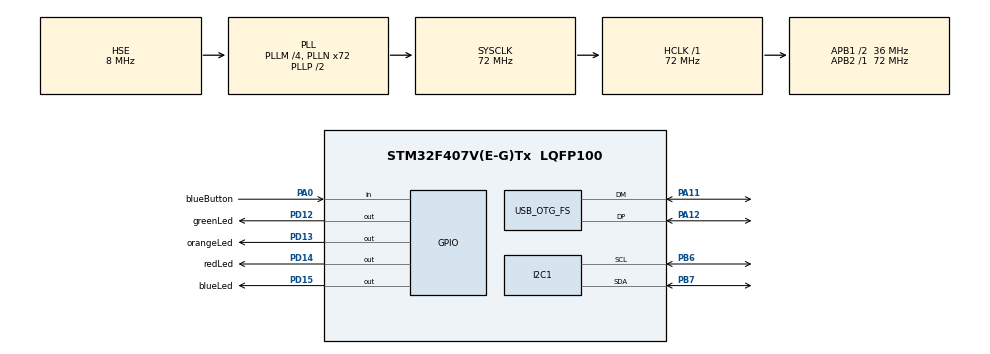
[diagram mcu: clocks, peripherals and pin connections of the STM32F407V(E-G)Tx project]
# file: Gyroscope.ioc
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Mcu.Family=STM32F4
Mcu.Name=STM32F407V(E-G)Tx
Mcu.Package=LQFP100
NVIC.OTG_FS_IRQn=true\:0\:0\:false\:false\:true\:false\:true
NVIC.PriorityGroup=NVIC_PRIORITYGROUP_0
PA0-WKUP.GPIO_Label=blueButton
PA0-WKUP.Signal=GPIO_Input
PA11.Mode=Device_Only
PA11.Signal=USB_OTG_FS_DM
PA12.Mode=Device_Only
PA12.Signal=USB_OTG_FS_DP
PA13.Mode=Serial_Wire
PA13.Signal=SYS_JTMS-SWDIO
PA14.Mode=Serial_Wire
PA14.Signal=SYS_JTCK-SWCLK
PB6.GPIO_PuPdOD=GPIO_PULLUP
PB6.Mode=I2C
PB6.Signal=I2C1_SCL
PB7.GPIO_PuPdOD=GPIO_PULLUP
PB7.Mode=I2C
PB7.Signal=I2C1_SDA
PD12.GPIO_Label=greenLed
PD12.GPIO_PuPd=GPIO_NOPULL
PD12.GPIO_Speed=GPIO_SPEED_FREQ_LOW
PD12.Signal=GPIO_Output
PD13.GPIO_Label=orangeLed
PD13.GPIO_PuPd=GPIO_NOPULL
PD13.GPIO_Speed=GPIO_SPEED_FREQ_LOW
PD13.Signal=GPIO_Output
PD14.GPIO_Label=redLed
PD14.GPIO_PuPd=GPIO_NOPULL
PD14.GPIO_Speed=GPIO_SPEED_FREQ_LOW
PD14.Signal=GPIO_Output
PD15.GPIO_Label=blueLed
PD15.GPIO_PuPd=GPIO_NOPULL
PD15.GPIO_Speed=GPIO_SPEED_FREQ_LOW
PD15.Signal=GPIO_Output
PH0-OSC_IN.Mode=HSE-External-Oscillator
PH0-OSC_IN.Signal=RCC_OSC_IN
PH1-OSC_OUT.Mode=HSE-External-Oscillator
PH1-OSC_OUT.Signal=RCC_OSC_OUT
ProjectManager.HeapSize=0x200
ProjectManager.StackSize=0x400
ProjectManager.TargetToolchain=MDK-ARM V5
RCC.48MHZClocksFreq_Value=48000000
RCC.AHBFreq_Value=72000000
RCC.APB1CLKDivider=RCC_HCLK_DIV2
RCC.APB1Freq_Value=36000000
RCC.APB1TimFreq_Value=72000000
RCC.APB2Freq_Value=72000000
RCC.APB2TimFreq_Value=72000000
RCC.CortexFreq_Value=72000000
RCC.HCLKFreq_Value=72000000
RCC.HSE_VALUE=8000000
RCC.HSI_VALUE=16000000
RCC.LSE_VALUE=32768
RCC.PLLM=4
RCC.PLLN=72
RCC.PLLQ=3
RCC.SYSCLKFreq_VALUE=72000000
RCC.SYSCLKSource=RCC_SYSCLKSOURCE_PLLCLK
RCC.VCOOutputFreq_Value=144000000
USB_DEVICE.CLASS_NAME_FS=CDC
USB_DEVICE.VirtualMode-CDC_FS=Cdc
USB_DEVICE.VirtualModeFS=Cdc_FS
USB_OTG_FS.VirtualMode=Device_Only
VP_USB_DEVICE_VS_USB_DEVICE_CDC_FS.Mode=CDC_FS
board=STM32F407G-DISC1

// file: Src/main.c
/* USER CODE BEGIN Header */
/**
  ******************************************************************************
  * @file           : main.c
  * @brief          : Main program body
  ******************************************************************************
  * @attention
  *
  * <h2><center>&copy; Copyright (c) 2020 STMicroelectronics.
  * All rights reserved.</center></h2>
  *
  * This software component is licensed by ST under BSD 3-Clause license,
  * the "License"; You may not use this file except in compliance with the
  * License. You may obtain a copy of the License at:
  *                        opensource.org/licenses/BSD-3-Clause
  *
  ******************************************************************************
  */
/* USER CODE END Header */

#include "main.h"
#include "usb_device.h"

/* USER CODE BEGIN Includes */
#include "string.h"
#include <math.h>

/* USER CODE END Includes */

I2C_HandleTypeDef hi2c1;

void SystemClock_Config(void);
static void MX_GPIO_Init(void);
static void MX_I2C1_Init(void);
/* USER CODE BEGIN PFP */

uint8_t CDC_Transmit_FS(uint8_t* Buf, uint16_t Len);
float getMres();

#define MPU9250_ADDRESS 0x68// Device address when ADO = 0
#define AK8963_ADDRESS   0x0C

#define WHO_AM_I 0x75 // Should return 0x71
#define MPU9250_WHOAMI_DEFAULT_VALUE 0x71
#define PWR_MGMT_1 0x6B // Device defaults to the SLEEP mode
#define MPU_CONFIG 0x1A
#define SMPLRT_DIV 0x19
#define GYRO_CONFIG 0x1B
#define ACCEL_CONFIG 0x1C
#define ACCEL_CONFIG2 0x1D
#define INT_PIN_CFG 0x37
#define INT_ENABLE 0x38
#define PWR_MGMT_2 0x6C
#define FIFO_EN 0x23
#define I2C_MST_CTRL 0x24
#define USER_CTRL 0x6A  // Bit 7 enable DMP, bit 3 reset DMP
#define FIFO_COUNTH 0x72
#define FIFO_R_W 0x74
#define XG_OFFSET_H 0x13  // User-defined trim values for gyroscope
#define XG_OFFSET_L 0x14
#define YG_OFFSET_H 0x15
#define YG_OFFSET_L 0x16
#define ZG_OFFSET_H 0x17
#define ZG_OFFSET_L 0x18
#define ACCEL_XOUT_H 0x3B
#define TEMP_OUT_H 0x41
#define INT_STATUS 0x3A

#define AK8963_WHO_AM_I  0x00 // should return 0x48
#define AK8963_WHOAMI_DEFAULT_VALUE 0x48
#define AK8963_CNTL 0x0A  // Power down (0000), single-measurement (0001), self-test (1000) and Fuse ROM (1111) modes on bits 3:0
#define AK8963_ASAX 0x10  // Fuse ROM x-axis sensitivity adjustment value
#define AK8963_ASAY 0x11  // Fuse ROM y-axis sensitivity adjustment value
#define AK8963_ASAZ 0x12  // Fuse ROM z-axis sensitivity adjustment value

#define GFSSEL 0x00 //0 - ± 250°/s; 1 - ± 500°/s; 2 - ±1000°/s; ± 2000°/s
#define AFSSEL 0x00 //0 - ±2g; 1 - ±4g; 2 - ±8g; 3 - ±16g;

#define magnetic_declination 11.3

#define Mmode 0x06 // 2 for 8 Hz, 6 for 100 Hz continuous magnetometer
#define AK8963_ST1 0x02  // data ready status bit 0
#define AK8963_XOUT_L	 0x03  // data

float mRes = 10. * 4912. / 32760.0; //MFSSEL: 0 - 10. * 4912. / 8190.0; 1 - 10. * 4912. / 32760.0;
float aRes = 2.0 / 32768.0; //±2g - 2.0 / 32768.0; ±4g - 4.0 / 32768.0; ±8g - 8.0 / 32768.0;±16g - 16.0 / 32768.0
float gRes = 250.0 / 32768.0; // ± 250°/s - 250.0 / 32768.0; ± 500°/s - 500.0 / 32768.0; ± 1000°/s - 1000.0 / 32768.0; ± 2000°/s - 2000.0 / 32768.0;

float magCalibration[3] = {0, 0, 0}; //factory mag calibration
float magBias[3] = {158, 134, -344};
float magScale[3]  = {0.98636, 0.9344, 1.12148}; // Bias corrections for gyro and accelerometer

float gyroBias[3] = {-2.00, -0.2, -1.1}; // bias corrections
float accelBias[3] = {0, 0, 0}; // bias corrections

int16_t tempCount;      // temperature raw count output
float temperature;    // Stores the real internal chip temperature in degrees Celsius
float SelfTestResult[6];    // holds results of gyro and accelerometer self test

int flagStartRead = 1;
float a[3], g[3], m[3];
float q[4] = {1.0f, 0.0f, 0.0f, 0.0f};    // vector to hold quaternion
float pitch, yaw, roll;
float a12, a22, a31, a32, a33;            // rotation matrix coefficients for Euler angles and gravity components
float lin_ax, lin_ay, lin_az;             // linear acceleration (acceleration with gravity component subtracted)

#define modeMedianAndKalman 0
const int medianVal = 3;
const float kalmanVal = 0.5;
float axMedian[medianVal], ayMedian[medianVal], azMedian[medianVal];
float gxMedian[medianVal], gyMedian[medianVal], gzMedian[medianVal];
float mxMedian[medianVal], myMedian[medianVal], mzMedian[medianVal];
int iterMedian = 0;

const double PI = 3.14159265358979f;
const float GyroMeasError = PI * (40.0f / 180.0f);   // gyroscope measurement error in rads/s (start at 40 deg/s)
const float GyroMeasDrift = PI * (0.0f  / 180.0f);   // gyroscope measurement drift in rad/s/s (start at 0.0 deg/s/s)
float beta;   // compute beta
float zeta;   // compute zeta, the other free parameter in the Madgwick scheme usually set to a small or zero value
const float Kp = 2.0f * 5.0f; // these are the free parameters in the Mahony filter and fusion scheme, Kp for proportional feedback, Ki for integral
const float Ki = 0.0f;

float deltat = 0.0f, sum = 0.0f;        // integration interval for both filter schemes
uint32_t lastUpdate = 0, firstUpdate = 0; // used to calculate integration interval
uint32_t Now = 0;        // used to calculate integration interval

// for mahony only
float eInt[3] = {0.0f, 0.0f, 0.0f};       // vector to hold integral error for Mahony method

int flagMPU = 0;
char bufUsb[127];
int b_ahrs = 1;
int flagPrint = 0;

/* USER CODE END PFP */

/* USER CODE BEGIN 0 */
void qsortRecursive(float *mas, int size)
{
	int i = 0;
	int j = size - 1;
	float mid = mas[size / 2];

	do
	{

			while(mas[i] < mid)
			{
				i++;
			}

			while(mas[j] > mid)
			{
				j--;
			}

			if (i <= j)
			{
					float tmp = mas[i];
					mas[i] = mas[j];
					mas[j] = tmp;

					i++;
					j--;
			}
	}
	while (i <= j);

	if(j > 0)
	{
		qsortRecursive(mas, j + 1);
	}
	if (i < size)
	{
		qsortRecursive(&mas[i], size - i);
	}
}

float medianMas(float *mas, int size)
{
	qsortRecursive(mas,size);
	return mas[size/2];
}

void valInit(void)
{
	beta =  sqrt(3.0f / 4.0f) * GyroMeasError;   // compute beta
 zeta = sqrt(3.0f / 4.0f) * GyroMeasDrift;   // compute zeta, the other free parameter in the Madgwick scheme usually set to a small or zero value
}

void usbSend(char* str_tx)
{
	HAL_GPIO_WritePin(blueLed_GPIO_Port,blueLed_Pin,GPIO_PIN_SET);
	CDC_Transmit_FS((unsigned char*)str_tx, strlen(str_tx));
	HAL_Delay(1);
	HAL_GPIO_WritePin(blueLed_GPIO_Port,blueLed_Pin,GPIO_PIN_RESET);

}

void qFilterUpdate(float ax, float ay, float az, float gx, float gy, float gz, float mx, float my, float mz, float* q)
{
	// updateParams()
	float q1 = q[0], q2 = q[1], q3 = q[2], q4 = q[3];   // short name local variable for readability
	float norm;
	float hx, hy, _2bx, _2bz;
	float s1, s2, s3, s4;
	float qDot1, qDot2, qDot3, qDot4;

	// Auxiliary variables to avoid repeated arithmetic
	float _2q1mx;
	float _2q1my;
	float _2q1mz;
	float _2q2mx;
	float _4bx;
	float _4bz;
	float _2q1 = 2.0f * q1;
	float _2q2 = 2.0f * q2;
	float _2q3 = 2.0f * q3;
	float _2q4 = 2.0f * q4;
	float _2q1q3 = 2.0f * q1 * q3;
	float _2q3q4 = 2.0f * q3 * q4;
	float q1q1 = q1 * q1;
	float q1q2 = q1 * q2;
	float q1q3 = q1 * q3;
	float q1q4 = q1 * q4;
	float q2q2 = q2 * q2;
	float q2q3 = q2 * q3;
	float q2q4 = q2 * q4;
	float q3q3 = q3 * q3;
	float q3q4 = q3 * q4;
	float q4q4 = q4 * q4;
	gx *= PI / 180.f;
	gy *= PI / 180.f;
	gz *= PI / 180.f;

	// updateTime()
	Now = HAL_GetTick();
	deltat = ((Now - lastUpdate) / 1000.0f); // set integration time by time elapsed since last filter update
	lastUpdate = Now;

	// Normalise accelerometer measurement
	norm = sqrtf(ax * ax + ay * ay + az * az);
	if (norm == 0.0f) return; // handle NaN
	norm = 1.0f / norm;
	ax *= norm;
	ay *= norm;
	az *= norm;

	// Normalise magnetometer measurement
	norm = sqrtf(mx * mx + my * my + mz * mz);
	if (norm == 0.0f) return; // handle NaN
	norm = 1.0f / norm;
	mx *= norm;
	my *= norm;
	mz *= norm;

	// Reference direction of Earth's magnetic field
	_2q1mx = 2.0f * q1 * mx;
	_2q1my = 2.0f * q1 * my;
	_2q1mz = 2.0f * q1 * mz;
	_2q2mx = 2.0f * q2 * mx;
	hx = mx * q1q1 - _2q1my * q4 + _2q1mz * q3 + mx * q2q2 + _2q2 * my * q3 + _2q2 * mz * q4 - mx * q3q3 - mx * q4q4;
	hy = _2q1mx * q4 + my * q1q1 - _2q1mz * q2 + _2q2mx * q3 - my * q2q2 + my * q3q3 + _2q3 * mz * q4 - my * q4q4;
	_2bx = sqrtf(hx * hx + hy * hy);
	_2bz = -_2q1mx * q3 + _2q1my * q2 + mz * q1q1 + _2q2mx * q4 - mz * q2q2 + _2q3 * my * q4 - mz * q3q3 + mz * q4q4;
	_4bx = 2.0f * _2bx;
	_4bz = 2.0f * _2bz;

	// Gradient decent algorithm corrective step
	s1 = -_2q3 * (2.0f * q2q4 - _2q1q3 - ax) + _2q2 * (2.0f * q1q2 + _2q3q4 - ay) - _2bz * q3 * (_2bx * (0.5f - q3q3 - q4q4) + _2bz * (q2q4 - q1q3) - mx) + (-_2bx * q4 + _2bz * q2) * (_2bx * (q2q3 - q1q4) + _2bz * (q1q2 + q3q4) - my) + _2bx * q3 * (_2bx * (q1q3 + q2q4) + _2bz * (0.5f - q2q2 - q3q3) - mz);
	s2 = _2q4 * (2.0f * q2q4 - _2q1q3 - ax) + _2q1 * (2.0f * q1q2 + _2q3q4 - ay) - 4.0f * q2 * (1.0f - 2.0f * q2q2 - 2.0f * q3q3 - az) + _2bz * q4 * (_2bx * (0.5f - q3q3 - q4q4) + _2bz * (q2q4 - q1q3) - mx) + (_2bx * q3 + _2bz * q1) * (_2bx * (q2q3 - q1q4) + _2bz * (q1q2 + q3q4) - my) + (_2bx * q4 - _4bz * q2) * (_2bx * (q1q3 + q2q4) + _2bz * (0.5f - q2q2 - q3q3) - mz);
	s3 = -_2q1 * (2.0f * q2q4 - _2q1q3 - ax) + _2q4 * (2.0f * q1q2 + _2q3q4 - ay) - 4.0f * q3 * (1.0f - 2.0f * q2q2 - 2.0f * q3q3 - az) + (-_4bx * q3 - _2bz * q1) * (_2bx * (0.5f - q3q3 - q4q4) + _2bz * (q2q4 - q1q3) - mx) + (_2bx * q2 + _2bz * q4) * (_2bx * (q2q3 - q1q4) + _2bz * (q1q2 + q3q4) - my) + (_2bx * q1 - _4bz * q3) * (_2bx * (q1q3 + q2q4) + _2bz * (0.5f - q2q2 - q3q3) - mz);
	s4 = _2q2 * (2.0f * q2q4 - _2q1q3 - ax) + _2q3 * (2.0f * q1q2 + _2q3q4 - ay) + (-_4bx * q4 + _2bz * q2) * (_2bx * (0.5f - q3q3 - q4q4) + _2bz * (q2q4 - q1q3) - mx) + (-_2bx * q1 + _2bz * q3) * (_2bx * (q2q3 - q1q4) + _2bz * (q1q2 + q3q4) - my) + _2bx * q2 * (_2bx * (q1q3 + q2q4) + _2bz * (0.5f - q2q2 - q3q3) - mz);
	norm = sqrtf(s1 * s1 + s2 * s2 + s3 * s3 + s4 * s4);    // normalise step magnitude
	norm = 1.0f/norm;
	s1 *= norm;
	s2 *= norm;
	s3 *= norm;
	s4 *= norm;

	// Compute rate of change of quaternion
	qDot1 = 0.5f * (-q2 * gx - q3 * gy - q4 * gz) - beta * s1;
	qDot2 = 0.5f * (q1 * gx + q3 * gz - q4 * gy) - beta * s2;
	qDot3 = 0.5f * (q1 * gy - q2 * gz + q4 * gx) - beta * s3;
	qDot4 = 0.5f * (q1 * gz + q2 * gy - q3 * gx) - beta * s4;

	// Integrate to yield quaternion
	q1 += qDot1 * deltat;
	q2 += qDot2 * deltat;
	q3 += qDot3 * deltat;
	q4 += qDot4 * deltat;
	norm = sqrtf(q1 * q1 + q2 * q2 + q3 * q3 + q4 * q4);    // normalise quaternion
	norm = 1.0f/norm;
	q[0] = q1 * norm;
	q[1] = q2 * norm;
	q[2] = q3 * norm;
	q[3] = q4 * norm;

}
void MahonyQuaternionUpdate(float ax, float ay, float az, float gx, float gy, float gz, float mx, float my, float mz, float* q)
    {
        float q1 = q[0], q2 = q[1], q3 = q[2], q4 = q[3];   // short name local variable for readability
        float norm;
        float hx, hy, bx, bz;
        float vx, vy, vz, wx, wy, wz;
        float ex, ey, ez;
        float pa, pb, pc;

        // Auxiliary variables to avoid repeated arithmetic
        float q1q1 = q1 * q1;
        float q1q2 = q1 * q2;
        float q1q3 = q1 * q3;
        float q1q4 = q1 * q4;
        float q2q2 = q2 * q2;
        float q2q3 = q2 * q3;
        float q2q4 = q2 * q4;
        float q3q3 = q3 * q3;
        float q3q4 = q3 * q4;
        float q4q4 = q4 * q4;

        // Normalise accelerometer measurement
        norm = sqrtf(ax * ax + ay * ay + az * az);
        if (norm == 0.0f) return; // handle NaN
        norm = 1.0f / norm;        // use reciprocal for division
        ax *= norm;
        ay *= norm;
        az *= norm;

        // Normalise magnetometer measurement
        norm = sqrtf(mx * mx + my * my + mz * mz);
        if (norm == 0.0f) return; // handle NaN
        norm = 1.0f / norm;        // use reciprocal for division
        mx *= norm;
        my *= norm;
        mz *= norm;

        // Reference direction of Earth's magnetic field
        hx = 2.0f * mx * (0.5f - q3q3 - q4q4) + 2.0f * my * (q2q3 - q1q4) + 2.0f * mz * (q2q4 + q1q3);
        hy = 2.0f * mx * (q2q3 + q1q4) + 2.0f * my * (0.5f - q2q2 - q4q4) + 2.0f * mz * (q3q4 - q1q2);
        bx = sqrtf((hx * hx) + (hy * hy));
        bz = 2.0f * mx * (q2q4 - q1q3) + 2.0f * my * (q3q4 + q1q2) + 2.0f * mz * (0.5f - q2q2 - q3q3);

        // Estimated direction of gravity and magnetic field
        vx = 2.0f * (q2q4 - q1q3);
        vy = 2.0f * (q1q2 + q3q4);
        vz = q1q1 - q2q2 - q3q3 + q4q4;
        wx = 2.0f * bx * (0.5f - q3q3 - q4q4) + 2.0f * bz * (q2q4 - q1q3);
        wy = 2.0f * bx * (q2q3 - q1q4) + 2.0f * bz * (q1q2 + q3q4);
        wz = 2.0f * bx * (q1q3 + q2q4) + 2.0f * bz * (0.5f - q2q2 - q3q3);

        // Error is cross product between estimated direction and measured direction of gravity
        ex = (ay * vz - az * vy) + (my * wz - mz * wy);
        ey = (az * vx - ax * vz) + (mz * wx - mx * wz);
        ez = (ax * vy - ay * vx) + (mx * wy - my * wx);
        if (Ki > 0.0f)
        {
            eInt[0] += ex;      // accumulate integral error
            eInt[1] += ey;
            eInt[2] += ez;
        }
        else
        {
            eInt[0] = 0.0f;     // prevent integral wind up
            eInt[1] = 0.0f;
            eInt[2] = 0.0f;
        }

        // Apply feedback terms
        gx = gx + Kp * ex + Ki * eInt[0];
        gy = gy + Kp * ey + Ki * eInt[1];
        gz = gz + Kp * ez + Ki * eInt[2];

        // Integrate rate of change of quaternion
        pa = q2;
        pb = q3;
        pc = q4;
        q1 = q1 + (-q2 * gx - q3 * gy - q4 * gz) * (0.5f * deltat);
        q2 = pa + (q1 * gx + pb * gz - pc * gy) * (0.5f * deltat);
        q3 = pb + (q1 * gy - pa * gz + pc * gx) * (0.5f * deltat);
        q4 = pc + (q1 * gz + pa * gy - pb * gx) * (0.5f * deltat);

        // Normalise quaternion
        norm = sqrtf(q1 * q1 + q2 * q2 + q3 * q3 + q4 * q4);
        norm = 1.0f / norm;
        q[0] = q1 * norm;
        q[1] = q2 * norm;
        q[2] = q3 * norm;
        q[3] = q4 * norm;
    }

void MPU9250Write(uint16_t MemAddress, uint8_t *pData, uint16_t Size)
{

	if (HAL_I2C_Mem_Write(&hi2c1, MPU9250_ADDRESS<<1, MemAddress, I2C_MEMADD_SIZE_8BIT, pData, Size, 1000) != HAL_OK)
	{
		sprintf(bufUsb, "I2C write error: %d\r\n",MemAddress);
	}
}

void MPU9250Read(uint16_t MemAddress, uint8_t *pData, uint16_t Size)
{

	if (HAL_I2C_Mem_Read(&hi2c1, MPU9250_ADDRESS<<1, MemAddress, I2C_MEMADD_SIZE_8BIT, pData, Size, 1000) !=HAL_OK)
	{
			sprintf(bufUsb, "I2C read error: %d\r\n", MemAddress);
	}
}

void AK8963Write(uint16_t MemAddress, uint8_t *pData, uint16_t Size)
{

	if (HAL_I2C_Mem_Write(&hi2c1, AK8963_ADDRESS<<1, MemAddress, I2C_MEMADD_SIZE_8BIT, pData, Size, 1000) != HAL_OK)
	{
		sprintf(bufUsb, "I2C write error: %d\r\n",MemAddress);
	}
}

void AK8963Read(uint16_t MemAddress, uint8_t *pData, uint16_t Size)
{

	if (HAL_I2C_Mem_Read(&hi2c1, AK8963_ADDRESS<<1, MemAddress, I2C_MEMADD_SIZE_8BIT, pData, Size, 1000) !=HAL_OK)
	{
			sprintf(bufUsb, "I2C read error: %d\r\n", MemAddress);
	}
}

int isConnectedMPU9250(void)
{

	uint8_t c[1];
	MPU9250Read(WHO_AM_I, c, 1);

	//sprintf(bufUsb,"MPU9250 WHO AM I = 0x%02X\r\n", c[0]);
	//usbSend(bufUsb);
	if (c[0] == (uint8_t) MPU9250_WHOAMI_DEFAULT_VALUE)
	{
		flagMPU = 1;
		return 1;
	}
	else
	{
		flagMPU = 0;
		return 0;
	}

}

void MPUInit(void)
{

	uint8_t pwrOff[1]={0x00};
	uint8_t pwrOn[1]={0x01};
	uint8_t mpuConfigVal[1]={0x03};
	uint8_t smplrtDivVal[1]={0x04};
	uint8_t intPinCfgVal[1]={0x22};
	uint8_t intEnableVal[1]={0x01};

	// wake up device
	MPU9250Write(PWR_MGMT_1, pwrOff, 1);
	HAL_Delay(100);// Wait for all registers to reset

	// get stable time source
	MPU9250Write(PWR_MGMT_1, pwrOn, 1);
	HAL_Delay(200);

	// Configure Gyro and Thermometer
	// Disable FSYNC and set thermometer and gyro bandwidth to 41 and 42 Hz, respectively;
	// minimum delay time for this setting is 5.9 ms, which means sensor fusion update rates cannot
	// be higher than 1 / 0.0059 = 170 Hz
	// DLPF_CFG = bits 2:0 = 011; this limits the sample rate to 1000 Hz for both
	// With the MPU9250, it is possible to get gyro sample rates of 32 kHz (!), 8 kHz, or 1 kHz
	MPU9250Write(MPU_CONFIG, mpuConfigVal, 1);

	// Set sample rate = gyroscope output rate/(1 + SMPLRT_DIV)
  MPU9250Write(SMPLRT_DIV, smplrtDivVal, 1); // Use a 200 Hz rate; a rate consistent with the filter update rate
	// determined inset in CONFIG above

	// Set gyroscope full scale range
  // Range selects FS_SEL and GFS_SEL are 0 - 3, so 2-bit values are left-shifted into positions 4:3
	uint8_t c[1];
	MPU9250Read(GYRO_CONFIG, c,1); // get current GYRO_CONFIG register value
	// c &= ~0xE0; // Clear self-test bits [7:5]
	c[0] &= ~0x03; // Clear Fchoice bits [1:0]
  c[0] &= ~0x18; // Clear GFS bits [4:3]
  c[0] |= (uint8_t)GFSSEL << 3; // Set full scale range for the gyro
	// c |= 0x00; // Set Fchoice for the gyro to 11 by writing its inverse to bits 1:0 of GYRO_CONFIG
	MPU9250Write(GYRO_CONFIG, c,1); // Write new GYRO_CONFIG value to register

	// Set accelerometer full-scale range configuration
	MPU9250Read(ACCEL_CONFIG, c,1); // get current ACCEL_CONFIG register value
	// c &= ~0xE0; // Clear self-test bits [7:5]
  c[0] &= ~0x18;  // Clear AFS bits [4:3]
  c[0] |= (uint8_t) AFSSEL << 3; // Set full scale range for the accelerometer
	MPU9250Write(ACCEL_CONFIG, c,1); // Write new ACCEL_CONFIG register value

	MPU9250Read(ACCEL_CONFIG2,c,1); // get current ACCEL_CONFIG2 register value
	c[0] &= ~0x0F; // Clear accel_fchoice_b (bit 3) and A_DLPFG (bits [2:0])
  c[0] |= 0x03;  // Set accelerometer rate to 1 kHz and bandwidth to 41 Hz
	MPU9250Write(ACCEL_CONFIG2,c,1); // Write new ACCEL_CONFIG2 register value

	// The accelerometer, gyro, and thermometer are set to 1 kHz sample rates,
	// but all these rates are further reduced by a factor of 5 to 200 Hz because of the SMPLRT_DIV setting

	// Configure Interrupts and Bypass Enable
	// Set interrupt pin active high, push-pull, hold interrupt pin level HIGH until interrupt cleared,
	// clear on read of INT_STATUS, and enable I2C_BYPASS_EN so additional chips
	MPU9250Write(INT_PIN_CFG, intPinCfgVal, 1);
	MPU9250Write(INT_ENABLE, intEnableVal, 1);	// Enable data ready (bit 0) interrupt
	HAL_Delay(100);

}

int isConnectedAK8963(void)
{

	uint8_t c[1];
	AK8963Read(AK8963_WHO_AM_I, c,1);

	//sprintf(bufUsb, "AK8963 WHO AM I =  %02X\r\n",c[0]);
	//usbSend(bufUsb);
	if (c[0] == (uint8_t) AK8963_WHOAMI_DEFAULT_VALUE)
	{
		flagMPU = 3;
		return 3;
	}
	else
	{
		flagMPU = 0;
		return 0;
	}

}

void AK8963Init(float* destination)
{

	uint8_t rawData[3];
	uint8_t AK8963Off[1]={0x00};
	uint8_t AK8963AccMod[1]={0x0F};
	uint8_t AK8963AcqMod[1]={0x16};

	AK8963Write(AK8963_CNTL, &AK8963Off[0], 1);// Power down magnetometer
	HAL_Delay(10);

	AK8963Write(AK8963_CNTL, &AK8963AccMod[0], 1);// Enter Fuse ROM access mode
	HAL_Delay(10);

	// Read the x-, y-, and z-axis calibration values
	AK8963Read(AK8963_ASAX, &rawData[0], 3);

	destination[0]= (float) (rawData[0] - 128) / 256. + 1.; // Return x-axis sensitivity adjustment values, etc.
	destination[1]= (float) (rawData[1] - 128) / 256. + 1.; // Return y-axis sensitivity adjustment values, etc.
	destination[2]= (float) (rawData[2] - 128) / 256. + 1.; // Return z-axis sensitivity adjustment values, etc.

	// Power down magnetometer
	AK8963Read(AK8963_CNTL, &AK8963Off[0],1);
	HAL_Delay(10);

	// Configure the magnetometer for continuous read and highest resolution
	// set Mscale bit 4 to 1 (0) to enable 16 (14) bit resolution in CNTL register,
	// and enable continuous mode data acquisition Mmode (bits [3:0]), 0010 for 8 Hz and 0110 for 100 Hz sample rates
	AK8963Write(AK8963_CNTL, &AK8963AcqMod[0], 1);
	HAL_Delay(10);

	usbSend("Calibration value:\r\n");
	sprintf(bufUsb, "X-Axis sensitivity adjustment value: %.4f \r\n", destination[0]);
	usbSend(bufUsb);
	sprintf(bufUsb, "Y-Axis sensitivity adjustment value: %.4f \r\n", destination[1]);
	usbSend(bufUsb);
	sprintf(bufUsb, "Z-Axis sensitivity adjustment value: %.4f \r\n", destination[2]);
	usbSend(bufUsb);
	sprintf(bufUsb, "X-Axis sensitivity offset value: %.4f \r\n", magBias[0]);
	usbSend(bufUsb);
	sprintf(bufUsb, "Y-Axis sensitivity offset value: %.4f \r\n", magBias[1]);
	usbSend(bufUsb);
	sprintf(bufUsb, "Z-Axis sensitivity offset value: %.4f \r\n", magBias[2]);
	usbSend(bufUsb);

}
void MPUSetup()
{
	int m_whoami = 0;
	int a_whoami = 0;

	m_whoami = isConnectedMPU9250();

	if (m_whoami == 1)
	{
		usbSend("MPU9250 is online...\r\n");

		MPUInit();

		a_whoami = isConnectedAK8963();

		if (a_whoami)
		{

			AK8963Init(magCalibration);
		}
		else
		{

			usbSend("Could not connect to AK8963: 0x");
			sprintf(bufUsb, "%d\r\n",a_whoami);
			usbSend(bufUsb);

		}
	}
	else
	{

		sprintf(bufUsb, "Could not connect to MPU9250: 0x%d\r\n", m_whoami);
		usbSend(bufUsb);

	}
}

// Function which accumulates gyro and accelerometer data after device initialization. It calculates the average
// of the at-rest readings and then loads the resulting offsets into accelerometer and gyro bias registers.
void calibrateMPU9250(float* dest1,float* dest2)
{

	uint8_t resetDevice[1] = {0x80};
	uint8_t powerOn[1] = {0x01};
	uint8_t powerOff[1] = {0x00};
	uint8_t resetFIFOandDMP[1] = {0x0C};
	uint8_t fifoEnable[1] = {0x40};
	uint8_t gyroAndAccelerometrEnable[1] = {0x78};

	uint8_t data[12]; //data array to hold accelerometer and gyro x, y, z, data
	uint16_t ii, packet_count, fifo_count;
	int32_t gyro_bias[3] = {0,0,0}, accel_bias[3] = {0,0,0};

	// reset device
	MPU9250Write(PWR_MGMT_1, resetDevice, 1);
	HAL_Delay(100);

	// get stable time source; Auto select clock source to be PLL gyroscope reference if ready
  // else use the internal oscillator, bits 2:0 = 001
	MPU9250Write(PWR_MGMT_1, powerOn, 1);
	MPU9250Write(PWR_MGMT_2, powerOff, 1);
	HAL_Delay(200);

	// Configure device for bias calculation
	MPU9250Write(INT_ENABLE, powerOff, 1); // Disable all interrupts
	MPU9250Write(FIFO_EN, powerOff, 1); // Disable FIFO
	MPU9250Write(PWR_MGMT_1, powerOff, 1); // Turn on internal clock source
	MPU9250Write(I2C_MST_CTRL, powerOff, 1); // Disable I2C master
	MPU9250Write(USER_CTRL, powerOff, 1); // Disable FIFO and I2C master modes
	MPU9250Write(USER_CTRL, resetFIFOandDMP, 1); // Reset FIFO and DMP
	HAL_Delay(15);

	// Configure MPU6050 gyro and accelerometer for bias calculation
	MPU9250Write(MPU_CONFIG, powerOn, 1); // Set low-pass filter to 188 Hz
	MPU9250Write(SMPLRT_DIV, powerOff, 1); // Set sample rate to 1 kHz
	MPU9250Write(GYRO_CONFIG, powerOff, 1); // Set gyro full-scale to 250 degrees per second, maximum sensitivity
	MPU9250Write(ACCEL_CONFIG, powerOff, 1); // Set accelerometer full-scale to 2 g, maximum sensitivity

	uint16_t  gyrosensitivity  = 131;   // = 131 LSB/degrees/sec
  uint16_t  accelsensitivity = 16384;  // = 16384 LSB/g

	// Configure FIFO to capture accelerometer and gyro data for bias calculation
	MPU9250Write(USER_CTRL, fifoEnable, 1); // Enable FIFO
	MPU9250Write(FIFO_EN, gyroAndAccelerometrEnable, 1); // Enable gyro and accelerometer sensors for FIFO  (max size 512 bytes in MPU-9150)
	HAL_Delay(40); // accumulate 40 samples in 40 milliseconds = 480 bytes

	// At end of sample accumulation, turn off FIFO sensor read
	MPU9250Write(FIFO_EN, powerOff, 1); // Disable gyro and accelerometer sensors for FIFO
	MPU9250Read(FIFO_COUNTH, &data[0], 2); // read FIFO sample count
	fifo_count = ( (uint16_t) data[0] << 8) | data[1];
	packet_count = fifo_count / 12; // How many sets of full gyro and accelerometer data for averaging

	for (ii = 0; ii < packet_count; ii++)
	{
		int16_t accel_temp[3] = {0, 0, 0}, gyro_temp[3] = {0, 0, 0};
		MPU9250Read(FIFO_R_W, &data[0], 12); // read data for averaging

		accel_temp[0] = (int16_t) (((int16_t)data[0] << 8) | data[1]  ) ;  // Form signed 16-bit integer for each sample in FIFO
		accel_temp[1] = (int16_t) (((int16_t)data[2] << 8) | data[3]  ) ;
		accel_temp[2] = (int16_t) (((int16_t)data[4] << 8) | data[5]  ) ;
		gyro_temp[0]  = (int16_t) (((int16_t)data[6] << 8) | data[7]  ) ;
		gyro_temp[1]  = (int16_t) (((int16_t)data[8] << 8) | data[9]  ) ;
		gyro_temp[2]  = (int16_t) (((int16_t)data[10] << 8) | data[11]) ;

		accel_bias[0] += (int32_t) accel_temp[0]; // Sum individual signed 16-bit biases to get accumulated signed 32-bit biases
		accel_bias[1] += (int32_t) accel_temp[1];
		accel_bias[2] += (int32_t) accel_temp[2];
		gyro_bias[0]  += (int32_t) gyro_temp[0];
		gyro_bias[1]  += (int32_t) gyro_temp[1];
		gyro_bias[2]  += (int32_t) gyro_temp[2];
	}

	accel_bias[0] /= (int32_t) packet_count; // Normalize sums to get average count biases
	accel_bias[1] /= (int32_t) packet_count;
	accel_bias[2] /= (int32_t) packet_count;
	gyro_bias[0]  /= (int32_t) packet_count;
	gyro_bias[1]  /= (int32_t) packet_count;
	gyro_bias[2]  /= (int32_t) packet_count;

	if(accel_bias[2] > 0L)
	{
		accel_bias[2] -= (int32_t) accelsensitivity; // Remove gravity from the z-axis accelerometer bias calculation
	}
  else
	{
		accel_bias[2] += (int32_t) accelsensitivity;
	}

	// Construct the gyro biases for push to the hardware gyro bias registers, which are reset to zero upon device startup
	data[0] = (-gyro_bias[0] / 4  >> 8) & 0xFF; // Divide by 4 to get 32.9 LSB per deg/s to conform to expected bias input format
	data[1] = (-gyro_bias[0] / 4)       & 0xFF; // Biases are additive, so change sign on calculated average gyro biases
	data[2] = (-gyro_bias[1] / 4  >> 8) & 0xFF;
	data[3] = (-gyro_bias[1] / 4)       & 0xFF;
	data[4] = (-gyro_bias[2] / 4  >> 8) & 0xFF;
	data[5] = (-gyro_bias[2] / 4)       & 0xFF;

	// Push gyro biases to hardware registers
  MPU9250Write(XG_OFFSET_H, &data[0], 1);
	MPU9250Write(XG_OFFSET_L, &data[1], 1);
	MPU9250Write(YG_OFFSET_H, &data[2], 1);
	MPU9250Write(YG_OFFSET_L, &data[3], 1);
	MPU9250Write(ZG_OFFSET_H, &data[4], 1);
	MPU9250Write(ZG_OFFSET_L, &data[5], 1);

	// Output scaled gyro biases for display in the main program
	dest1[0] = (float) gyro_bias[0] / (float) gyrosensitivity;
	dest1[1] = (float) gyro_bias[1] / (float) gyrosensitivity;
	dest1[2] = (float) gyro_bias[2] / (float) gyrosensitivity;

	// Construct the accelerometer biases for push to the hardware accelerometer bias registers. These registers contain
	// factory trim values which must be added to the calculated accelerometer biases; on boot up these registers will hold
	// non-zero values. In addition, bit 0 of the lower byte must be preserved since it is used for temperature
	// compensation calculations. Accelerometer bias registers expect bias input as 2048 LSB per g, so that
	// the accelerometer biases calculated above must be divided by 8.

	/* int32_t accel_bias_reg[3] = {0, 0, 0}; // A place to hold the factory accelerometer trim biases
		 readBytes(MPU9250_ADDRESS, XA_OFFSET_H, 2, &data[0]); // Read factory accelerometer trim values
		 accel_bias_reg[0] = (int32_t) (((int16_t)data[0] << 8) | data[1]);
	   readBytes(MPU9250_ADDRESS, YA_OFFSET_H, 2, &data[0]);
	   accel_bias_reg[1] = (int32_t) (((int16_t)data[0] << 8) | data[1]);
	   readBytes(MPU9250_ADDRESS, ZA_OFFSET_H, 2, &data[0]);
	   accel_bias_reg[2] = (int32_t) (((int16_t)data[0] << 8) | data[1]);

	   uint32_t mask = 1uL; // Define mask for temperature compensation bit 0 of lower byte of accelerometer bias registers
	   uint8_t mask_bit[3] = {0, 0, 0}; // Define array to hold mask bit for each accelerometer bias axis

	   for(ii = 0; ii < 3; ii++) {
	       if((accel_bias_reg[ii] & mask)) mask_bit[ii] = 0x01; // If temperature compensation bit is set, record that fact in mask_bit
	   }

	   Construct total accelerometer bias, including calculated average accelerometer bias from above
	   accel_bias_reg[0] -= (accel_bias[0] / 8); // Subtract calculated averaged accelerometer bias scaled to 2048 LSB/g (16 g full scale)
	   accel_bias_reg[1] -= (accel_bias[1] / 8);
	   accel_bias_reg[2] -= (accel_bias[2] / 8);

	   data[0] = (accel_bias_reg[0] >> 8) & 0xFF;
	   data[1] = (accel_bias_reg[0])      & 0xFF;
	   data[1] = data[1] | mask_bit[0]; // preserve temperature compensation bit when writing back to accelerometer bias registers
	   data[2] = (accel_bias_reg[1] >> 8) & 0xFF;
	   data[3] = (accel_bias_reg[1])      & 0xFF;
	   data[3] = data[3] | mask_bit[1]; // preserve temperature compensation bit when writing back to accelerometer bias registers
	   data[4] = (accel_bias_reg[2] >> 8) & 0xFF;
	   data[5] = (accel_bias_reg[2])      & 0xFF;
	   data[5] = data[5] | mask_bit[2]; // preserve temperature compensation bit when writing back to accelerometer bias registers

	   Apparently this is not working for the acceleration biases in the MPU-9250
	   Are we handling the temperature correction bit properly?
	   Push accelerometer biases to hardware registers
	   writeByte(MPU9250_ADDRESS, XA_OFFSET_H, data[0]);
	   writeByte(MPU9250_ADDRESS, XA_OFFSET_L, data[1]);
	   writeByte(MPU9250_ADDRESS, YA_OFFSET_H, data[2]);
	   writeByte(MPU9250_ADDRESS, YA_OFFSET_L, data[3]);
	   writeByte(MPU9250_ADDRESS, ZA_OFFSET_H, data[4]);
	   writeByte(MPU9250_ADDRESS, ZA_OFFSET_L, data[5]);*/

	   //Output scaled accelerometer biases for display in the main program
		dest2[0] = (float)accel_bias[0] / (float)accelsensitivity;
    dest2[1] = (float)accel_bias[1] / (float)accelsensitivity;
    dest2[2] = (float)accel_bias[2] / (float)accelsensitivity;

		usbSend("MPU9250 bias\r\n");
    usbSend(" x   y   z  \r\n");
		sprintf(bufUsb, "%d %d %d mg\r\n", (int)(1000 * accelBias[0]), (int)(1000 * accelBias[1]), (int)(1000 * accelBias[2]));
		usbSend(bufUsb);
		sprintf(bufUsb, "%f %f %f o/s\r\n", gyroBias[0],gyroBias[1],gyroBias[2]);
		usbSend(bufUsb);

   HAL_Delay(100);
	 MPUInit();
	 HAL_Delay(1000);

}

void calibrateAccelGyro(void)
{
	calibrateMPU9250(gyroBias, accelBias);
}

void readMagData(int16_t* destination)
{
	uint8_t rawData[7]; // x/y/z gyro register data, ST2 register stored here, must read ST2 at end of data acquisition
	uint8_t AK8963STVal[1];

	AK8963Read(AK8963_ST1, &AK8963STVal[0], 1);

	if (AK8963STVal[0] && 0x01) // wait for magnetometer data ready bit to be set
	{
		AK8963Read(AK8963_XOUT_L, &rawData[0], 7); // Read the six raw data and ST2 registers sequentially into data array
		uint8_t c = rawData[6]; // End data read by reading ST2 register
		if (!(c &0x08)) // Check if magnetic sensor overflow set, if not then report data
		{
			destination[0] = ((int16_t)rawData[1] << 8) | rawData[0];  // Turn the MSB and LSB into a signed 16-bit value
			destination[1] = ((int16_t)rawData[3] << 8) | rawData[2];  // Data stored as little Endian
			destination[2] = ((int16_t)rawData[5] << 8) | rawData[4];
		}
	}

}
void magcalMPU9250(float *dest1, float *dest2)
{
	uint16_t ii = 0, sample_count = 0;
	int32_t mag_bias[3] = {0, 0, 0}, mag_scale[3] = {0, 0, 0};
	int16_t mag_max[3] = {-32767, -32767, -32767}, mag_min[3] = {32767, 32767, 32767}, mag_temp[3] = {0, 0, 0};

	usbSend("Mag Calibration: Wave device in a figure eight until done!\r\n");
	HAL_Delay(4000);

	// shoot for ~fifteen seconds of mag data
  if (Mmode == 0x02)
	{
		sample_count = 128;  // at 8 Hz ODR, new mag data is available every 125 ms
	}
	else
	{
		if (Mmode == 0x06)
		{
			sample_count = 1500;  // at 100 Hz ODR, new mag data is available every 10 ms
		}
	}

	for(ii = 0; ii < sample_count; ii++)
	{
			readMagData(mag_temp);  // Read the mag data
			for (int jj = 0; jj < 3; jj++)
			{
					if(mag_temp[jj] > mag_max[jj]) mag_max[jj] = mag_temp[jj];
					if(mag_temp[jj] < mag_min[jj]) mag_min[jj] = mag_temp[jj];
			}
			if(Mmode == 0x02)
			{
				HAL_Delay(135);  // at 8 Hz ODR, new mag data is available every 125 ms
			}
			if(Mmode == 0x06)
			{
				HAL_Delay(12);  // at 100 Hz ODR, new mag data is available every 10 ms
			}
	}

	sprintf(bufUsb, "mag x min/max: %d/%d\r\n", mag_min[0], mag_max[0]);
	usbSend(bufUsb);
	sprintf(bufUsb, "mag y min/max: %d/%d\r\n", mag_min[1], mag_max[1]);
	usbSend(bufUsb);
	sprintf(bufUsb, "mag z min/max: %d/%d\r\n", mag_min[2], mag_max[2]);
	usbSend(bufUsb);

	if ((mag_min[0] == mag_max[0]) || (mag_min[1] == mag_max[1]) || (mag_min[2] == mag_max[2]))
	{
		HAL_GPIO_WritePin(orangeLed_GPIO_Port,orangeLed_Pin,GPIO_PIN_RESET);
		HAL_GPIO_WritePin(redLed_GPIO_Port,redLed_Pin,GPIO_PIN_SET);
	}
	else
	{

		// Get hard iron correction
		mag_bias[0]  = (mag_max[0] + mag_min[0])/2;  // get average x mag bias in counts
		mag_bias[1]  = (mag_max[1] + mag_min[1])/2;  // get average y mag bias in counts
		mag_bias[2]  = (mag_max[2] + mag_min[2])/2;  // get average z mag bias in counts

		dest1[0] = (float) mag_bias[0]*mRes*magCalibration[0];  // save mag biases in G for main program
		dest1[1] = (float) mag_bias[1]*mRes*magCalibration[1];
		dest1[2] = (float) mag_bias[2]*mRes*magCalibration[2];

		// Get soft iron correction estimate
		mag_scale[0]  = (mag_max[0] - mag_min[0])/2;  // get average x axis max chord length in counts
		mag_scale[1]  = (mag_max[1] - mag_min[1])/2;  // get average y axis max chord length in counts
		mag_scale[2]  = (mag_max[2] - mag_min[2])/2;  // get average z axis max chord length in counts

		float avg_rad = mag_scale[0] + mag_scale[1] + mag_scale[2];
		avg_rad /= 3.0;

		dest2[0] = avg_rad/((float)mag_scale[0]);
		dest2[1] = avg_rad/((float)mag_scale[1]);
		dest2[2] = avg_rad/((float)mag_scale[2]);

		usbSend("Mag Calibration done!\r\n");
		usbSend("AK8963 magbiases (mG)\r\n");
		sprintf(bufUsb, "%f, %f, %f\r\n", magBias[0], magBias[1], magBias[2]);
		usbSend(bufUsb);
		usbSend("AK8963 mag scale (mG)\r\n");
		sprintf(bufUsb, "%f, %f, %f\r\n", magScale[0], magScale[1], magScale[2]);
		usbSend(bufUsb);

	}

}

void calibrateMag(void)
{
	magcalMPU9250(magBias, magScale);
}
void readMPU9250Data(int16_t* destination)
{

	uint8_t rawData[14]; // x/y/z accel register data stored here
	MPU9250Read(ACCEL_XOUT_H, &rawData[0], 14); // Read the 14 raw data registers into data array
	destination[0] = ((int16_t)rawData[0] << 8) | rawData[1] ;  // Turn the MSB and LSB into a signed 16-bit value
	destination[1] = ((int16_t)rawData[2] << 8) | rawData[3] ;
	destination[2] = ((int16_t)rawData[4] << 8) | rawData[5] ;
	destination[3] = ((int16_t)rawData[6] << 8) | rawData[7] ;
	destination[4] = ((int16_t)rawData[8] << 8) | rawData[9] ;
	destination[5] = ((int16_t)rawData[10] << 8) | rawData[11] ;
	destination[6] = ((int16_t)rawData[12] << 8) | rawData[13] ;

}

int16_t readTempData(void)
{

	uint8_t rawData[2];// x/y/z gyro register data stored here
	MPU9250Read(TEMP_OUT_H, &rawData[0], 2);
	return ((int16_t)rawData[0] << 8) | rawData[1] ;

}

void updateAccelGyro(void)
{
	int16_t MPU9250Data[7]; // used to read all 14 bytes at once from the MPU9250 accel/gyro
	readMPU9250Data(MPU9250Data);// INT cleared on any read

	float aNew[3], gNew[3];

	// Now we'll calculate the accleration value into actual g's
	aNew[0] = (float)MPU9250Data[0] * aRes - accelBias[0];  // get actual g value, this depends on scale being set
	aNew[1] = (float)MPU9250Data[1] * aRes - accelBias[1];
	aNew[2] = (float)MPU9250Data[2] * aRes - accelBias[2];

	// Calculate the gyro value into actual degrees per second
	gNew[0] = (float)MPU9250Data[4] * gRes - gyroBias[0];  // get actual gyro value, this depends on scale being set
	gNew[1] = (float)MPU9250Data[5] * gRes - gyroBias[1];
	gNew[2] = (float)MPU9250Data[6] * gRes - gyroBias[2];

	if (modeMedianAndKalman)
	{
		if (flagStartRead)
		{
			a[0] = aNew[0];
			a[1] = aNew[1];
			a[2] = aNew[2];

			g[0] = gNew[0];
			g[1] = gNew[1];
			g[2] = gNew[2];

			for(int i=0; i<medianVal; i++)
			{
				axMedian[i] = aNew[0];
				ayMedian[i] = aNew[1];
				azMedian[i] = aNew[2];

				gxMedian[i] = gNew[0];
				gyMedian[i] = gNew[1];
				gzMedian[i] = gNew[2];

			}

			flagStartRead = 0;
		}
		else
		{
			a[0] = kalmanVal*aNew[0]+(1-kalmanVal)*a[0];
			a[1] = kalmanVal*aNew[1]+(1-kalmanVal)*a[1];
			a[2] = kalmanVal*aNew[2]+(1-kalmanVal)*a[2];

			g[0] = kalmanVal*gNew[0]+(1-kalmanVal)*g[0];
			g[1] = kalmanVal*gNew[1]+(1-kalmanVal)*g[1];
			g[2] = kalmanVal*gNew[2]+(1-kalmanVal)*g[2];

			axMedian[iterMedian] = a[0];
			ayMedian[iterMedian] = a[1];
			azMedian[iterMedian] = a[2];

			gxMedian[iterMedian] = g[0];
			gyMedian[iterMedian] = g[1];
			gzMedian[iterMedian] = g[2];

			iterMedian++;

			if (iterMedian == 25)
			{
				iterMedian = 0;
			}

			a[0] = medianMas(axMedian, medianVal);
			a[1] = medianMas(ayMedian, medianVal);
			a[2] = medianMas(azMedian, medianVal);

			g[0] = medianMas(gxMedian, medianVal);
			g[1] = medianMas(gyMedian, medianVal);
			g[2] = medianMas(gzMedian, medianVal);

		}
	}
	else
	{

		a[0] = aNew[0];
		a[1] = aNew[1];
		a[2] = aNew[2];

		g[0] = gNew[0];
		g[1] = gNew[1];
		g[2] = gNew[2];
	}

}
void updateMag(void)
{
	int16_t magCount[3] = {0, 0, 0};    // Stores the 16-bit signed magnetometer sensor output
	readMagData(magCount);  // Read the x/y/z adc values

	float mNew[3];
	// Calculate the magnetometer values in milliGauss
	// Include factory calibration per data sheet and user environmental corrections
	mNew[0] = (float)(magCount[0] * mRes * magCalibration[0] - magBias[0]) * magScale[0];  // get actual magnetometer value, this depends on scale being set
	mNew[1] = (float)(magCount[1] * mRes * magCalibration[1] - magBias[1]) * magScale[1];
	mNew[2] = (float)(magCount[2] * mRes * magCalibration[2] - magBias[2]) * magScale[2];

	if (modeMedianAndKalman)
	{
		if (flagStartRead)
		{
			m[0] = mNew[0];
			m[1] = mNew[1];
			m[2] = mNew[2];

			for(int i=0; i<medianVal; i++)
			{
				mxMedian[i] = mNew[0];
				myMedian[i] = mNew[1];
				mzMedian[i] = mNew[2];
			}
			flagStartRead = 0;
		}
		else
		{
			m[0] = kalmanVal*mNew[0]+(1-kalmanVal)*m[0];
			m[1] = kalmanVal*mNew[1]+(1-kalmanVal)*m[1];
			m[2] = kalmanVal*mNew[2]+(1-kalmanVal)*m[2];

			mxMedian[iterMedian] = m[0];
			myMedian[iterMedian] = m[1];
			mzMedian[iterMedian] = m[2];

			iterMedian++;

			if (iterMedian == 25)
			{
				iterMedian = 0;
			}

			m[0] = medianMas(mxMedian, medianVal);
			m[1] = medianMas(myMedian, medianVal);
			m[2] = medianMas(mzMedian, medianVal);
		}
	}
	else
	{
			m[0] = mNew[0];
			m[1] = mNew[1];
			m[2] = mNew[2];
	}
}

void updateRPY(void)
{
		a12 =   2.0f * (q[1] * q[2] + q[0] * q[3]);
		a22 =   q[0] * q[0] + q[1] * q[1] - q[2] * q[2] - q[3] * q[3];
		a31 =   2.0f * (q[0] * q[1] + q[2] * q[3]);
		a32 =   2.0f * (q[1] * q[3] - q[0] * q[2]);
		a33 =   q[0] * q[0] - q[1] * q[1] - q[2] * q[2] + q[3] * q[3];
		pitch = -asinf(a32);
		roll  = atan2f(a31, a33);
		yaw   = atan2f(a12, a22);
		pitch *= 180.0f / PI;
		roll  *= 180.0f / PI;
		yaw   *= 180.0f / PI;
		yaw   += magnetic_declination;
		if (yaw >= +180.f)
		{
			yaw -= 360.f;
		}
		else
		{
			if (yaw <  -180.f)
			{
				yaw += 360.f;
			}
		}

		lin_ax = a[0] + a31;
		lin_ay = a[1] + a32;
		lin_az = a[2] - a33;
}

void printCalibration(void)
{
	usbSend("< calibration parametrs >\r\n");
	usbSend("Accel bias [g]:\r\n");
	sprintf(bufUsb,"%f, %f, %f\r\n",accelBias[0] * 1000.f, accelBias[1] * 1000.f, accelBias[2] * 1000.f);
	usbSend(bufUsb);
	usbSend("Gyro bias [deg/s]: \r\n");
	sprintf(bufUsb,"%f, %f, %f\r\n", gyroBias[0], gyroBias[1], gyroBias[2]);
	usbSend(bufUsb);
	usbSend("Mag bias [mG]: \r\n");
	sprintf(bufUsb,"%f, %f, %f\r\n", magBias[0], magBias[1], magBias[2]);
	usbSend(bufUsb);
	usbSend("Mag scale []: \r\n");
	sprintf(bufUsb,"%f, %f, %f\r\n", magScale[0], magScale[1], magScale[2]);
	usbSend(bufUsb);

}

void printRollPitchYaw(void)
{
	sprintf(bufUsb, "4 %.2f %.2f %.2f\r\n", yaw, pitch, roll);
	usbSend(bufUsb);
}

void printRawData(void)
{
	if (flagPrint == 1)
	{
		 // Print acceleration values in milligs!
		sprintf(bufUsb, "0 %d %d %d\r\n",(int)(1000 * a[0]),(int)(1000 * a[1]),(int)(1000 * a[2]));
		usbSend(bufUsb);
	}

	if (flagPrint == 2)
	{
		// Print gyro values in degree/sec
		sprintf(bufUsb, "1 %.2f %.2f %.2f\r\n",g[0],g[1],g[2]);
		usbSend(bufUsb);
	}

	if (flagPrint == 3)
	{
		// Print mag values in degree/sec
		sprintf(bufUsb, "2 %d %d %d\r\n", (int)m[0], (int)m[1], (int)m[2]);
		usbSend(bufUsb);
	}

	if (flagPrint == 4)
	{
		sprintf(bufUsb, "3 %.2f %.2f %.2f %.2f\r\n",q[0],q[1],g[2],q[3]);
		usbSend(bufUsb);
	}
}
void print(void)
{
	printRawData();
	printRollPitchYaw();
	printCalibration();
}
int available(void)
{
	uint8_t intStatusVal[1];
	MPU9250Read(INT_STATUS, &intStatusVal[0],1);

	return (intStatusVal[0] & 0x01);
}
void update(void)
{
	//if (available())
	//{// On interrupt, check if data ready interrupt
		updateAccelGyro();
		updateMag();
	//}

	// Madgwick function needs to be fed North, East, and Down direction like
	// (AN, AE, AD, GN, GE, GD, MN, ME, MD)
	// Accel and Gyro direction is Right-Hand, X-Forward, Z-Up
	// Magneto direction is Right-Hand, Y-Forward, Z-Down
	// So to adopt to the general Aircraft coordinate system (Right-Hand, X-Forward, Z-Down),
	// we need to feed (ax, -ay, -az, gx, -gy, -gz, my, -mx, mz)
	// but we pass (-ax, ay, az, gx, -gy, -gz, my, -mx, mz)
	// because gravity is by convention positive down, we need to ivnert the accel data

	// get quaternion based on aircraft coordinate (Right-Hand, X-Forward, Z-Down)
	// acc[mg], gyro[deg/s], mag [mG]
	// gyro will be convert from [deg/s] to [rad/s] inside of this function
	qFilterUpdate(-a[0], a[1], a[2], g[0], -g[1], -g[2], m[1], -m[0], m[2], q);

	if (!b_ahrs)
	{
			tempCount = readTempData();  // Read the adc values
			temperature = ((float) tempCount) / 333.87 + 21.0; // Temperature in degrees Centigrade
	}
	else
	{
		// Define output variables from updated quaternion---these are Tait-Bryan angles, commonly used in aircraft orientation.
		// In this coordinate system, the positive z-axis is down toward Earth.
		// Yaw is the angle between Sensor x-axis and Earth magnetic North (or true North if corrected for local declination, looking down on the sensor positive yaw is counterclockwise.
		// Pitch is angle between sensor x-axis and Earth ground plane, toward the Earth is positive, up toward the sky is negative.
		// Roll is angle between sensor y-axis and Earth ground plane, y-axis up is positive roll.
		// These arise from the definition of the homogeneous rotation matrix constructed from quaternions.
		// Tait-Bryan angles as well as Euler angles are non-commutative; that is, the get the correct orientation the rotations must be
		// applied in the correct order which for this configuration is yaw, pitch, and then roll.
		// For more see http://en.wikipedia.org/wiki/Conversion_between_quaternions_and_Euler_angles which has additional links.
		updateRPY();
	}

}

/* USER CODE END 0 */

int main(void)
{

  /* MCU Configuration--------------------------------------------------------*/

  /* Reset of all peripherals, Initializes the Flash interface and the Systick. */
  HAL_Init();

  /* USER CODE BEGIN Init */
	valInit();

  /* USER CODE END Init */

  /* Configure the system clock */
  SystemClock_Config();

  /* Initialize all configured peripherals */
  MX_GPIO_Init();
  MX_I2C1_Init();
  MX_USB_DEVICE_Init();
  /* USER CODE BEGIN 2 */
	HAL_GPIO_WritePin(orangeLed_GPIO_Port,orangeLed_Pin,GPIO_PIN_SET);
	HAL_GPIO_WritePin(greenLed_GPIO_Port,greenLed_Pin,GPIO_PIN_RESET);

	HAL_Delay(3000);
	usbSend("Start!\r\n");
	HAL_Delay(1000);
	usbSend("3!\r\n");
	HAL_Delay(1000);
	usbSend("2!\r\n");
	HAL_Delay(1000);
	usbSend("1!\r\n");
	HAL_Delay(1000);

	usbSend("MPU setup:\r\n");
	MPUSetup();
	HAL_Delay(500);

	if (flagMPU)
	{

		usbSend("Take blue button for calibrate\r\n");
		HAL_Delay(2000);
		if (HAL_GPIO_ReadPin(blueButton_GPIO_Port, blueButton_Pin)==GPIO_PIN_SET)
		{

			usbSend("MPU gyro and accel calibrate:\r\n");
			calibrateAccelGyro();
			HAL_Delay(500);

			usbSend("AK8963 calibrate:\r\n");
			calibrateMag();
			HAL_Delay(500);
		}

		HAL_GPIO_WritePin(orangeLed_GPIO_Port,orangeLed_Pin,GPIO_PIN_RESET);
		HAL_GPIO_WritePin(greenLed_GPIO_Port,greenLed_Pin,GPIO_PIN_SET);

	}
	else
	{
		HAL_GPIO_WritePin(orangeLed_GPIO_Port,orangeLed_Pin,GPIO_PIN_RESET);
		HAL_GPIO_WritePin(redLed_GPIO_Port,redLed_Pin,GPIO_PIN_SET);
	}

  /* USER CODE END 2 */

  /* Infinite loop */
  /* USER CODE BEGIN WHILE */
	usbSend("While go!\r\n");
	char trans_str[64] = {0,};
	int flagNoClickButton = 1;
	uint32_t prevTime = HAL_GetTick();

  while (1)
  {

    /* USER CODE END WHILE */

    /* USER CODE BEGIN 3 */
		if ((isConnectedAK8963() == 3) & (isConnectedMPU9250()==1))
		{

			HAL_GPIO_WritePin(redLed_GPIO_Port,redLed_Pin,GPIO_PIN_RESET);
			HAL_GPIO_WritePin(greenLed_GPIO_Port,greenLed_Pin,GPIO_PIN_SET);

			if (HAL_GPIO_ReadPin(blueButton_GPIO_Port, blueButton_Pin)==GPIO_PIN_SET && flagNoClickButton)
			{

				if (flagNoClickButton)
				{

					flagPrint = flagPrint + 1;

					if (flagPrint > 5)
					{
						flagPrint = 1;
					}
					flagNoClickButton = 0;

				}
			}

			if (HAL_GPIO_ReadPin(blueButton_GPIO_Port, blueButton_Pin)==GPIO_PIN_RESET)
			{
				flagNoClickButton = 1;
			}

			update();
			if (HAL_GetTick() - prevTime > 984)
			{
				if (flagPrint > 0 && flagPrint < 5)
				{
					printRawData();
				}

				if (flagPrint == 5)
				{
					printRollPitchYaw();
				}
				prevTime = HAL_GetTick();
			}
		}
		else
		{
			HAL_GPIO_WritePin(greenLed_GPIO_Port,greenLed_Pin,GPIO_PIN_RESET);
			HAL_GPIO_WritePin(redLed_GPIO_Port,redLed_Pin,GPIO_PIN_SET);
			usbSend("Error connection MPU\r\n");
		}
		HAL_Delay(16);
	}
  /* USER CODE END 3 */
}

void SystemClock_Config(void)
{
  RCC_OscInitTypeDef RCC_OscInitStruct = {0};
  RCC_ClkInitTypeDef RCC_ClkInitStruct = {0};

  /** Configure the main internal regulator output voltage
  */
  __HAL_RCC_PWR_CLK_ENABLE();
  __HAL_PWR_VOLTAGESCALING_CONFIG(PWR_REGULATOR_VOLTAGE_SCALE1);
  /** Initializes the CPU, AHB and APB busses clocks
  */
  RCC_OscInitStruct.OscillatorType = RCC_OSCILLATORTYPE_HSE;
  RCC_OscInitStruct.HSEState = RCC_HSE_ON;
  RCC_OscInitStruct.PLL.PLLState = RCC_PLL_ON;
  RCC_OscInitStruct.PLL.PLLSource = RCC_PLLSOURCE_HSE;
  RCC_OscInitStruct.PLL.PLLM = 4;
  RCC_OscInitStruct.PLL.PLLN = 72;
  RCC_OscInitStruct.PLL.PLLP = RCC_PLLP_DIV2;
  RCC_OscInitStruct.PLL.PLLQ = 3;
  if (HAL_RCC_OscConfig(&RCC_OscInitStruct) != HAL_OK)
  {
    Error_Handler();
  }
  /** Initializes the CPU, AHB and APB busses clocks
  */
  RCC_ClkInitStruct.ClockType = RCC_CLOCKTYPE_HCLK|RCC_CLOCKTYPE_SYSCLK
                              |RCC_CLOCKTYPE_PCLK1|RCC_CLOCKTYPE_PCLK2;
  RCC_ClkInitStruct.SYSCLKSource = RCC_SYSCLKSOURCE_PLLCLK;
  RCC_ClkInitStruct.AHBCLKDivider = RCC_SYSCLK_DIV1;
  RCC_ClkInitStruct.APB1CLKDivider = RCC_HCLK_DIV2;
  RCC_ClkInitStruct.APB2CLKDivider = RCC_HCLK_DIV1;

  if (HAL_RCC_ClockConfig(&RCC_ClkInitStruct, FLASH_LATENCY_2) != HAL_OK)
  {
    Error_Handler();
  }
}

static void MX_I2C1_Init(void)
{

  hi2c1.Instance = I2C1;
  hi2c1.Init.ClockSpeed = 100000;
  hi2c1.Init.DutyCycle = I2C_DUTYCYCLE_2;
  hi2c1.Init.OwnAddress1 = 0;
  hi2c1.Init.AddressingMode = I2C_ADDRESSINGMODE_7BIT;
  hi2c1.Init.DualAddressMode = I2C_DUALADDRESS_DISABLE;
  hi2c1.Init.OwnAddress2 = 0;
  hi2c1.Init.GeneralCallMode = I2C_GENERALCALL_DISABLE;
  hi2c1.Init.NoStretchMode = I2C_NOSTRETCH_DISABLE;
  if (HAL_I2C_Init(&hi2c1) != HAL_OK)
  {
    Error_Handler();
  }

}

static void MX_GPIO_Init(void)
{
  GPIO_InitTypeDef GPIO_InitStruct = {0};

  /* GPIO Ports Clock Enable */
  __HAL_RCC_GPIOH_CLK_ENABLE();
  __HAL_RCC_GPIOA_CLK_ENABLE();
  __HAL_RCC_GPIOD_CLK_ENABLE();
  __HAL_RCC_GPIOB_CLK_ENABLE();

  /*Configure GPIO pin Output Level */
  HAL_GPIO_WritePin(GPIOD, greenLed_Pin|orangeLed_Pin|redLed_Pin|blueLed_Pin, GPIO_PIN_RESET);

  /*Configure GPIO pin : blueButton_Pin */
  GPIO_InitStruct.Pin = blueButton_Pin;
  GPIO_InitStruct.Mode = GPIO_MODE_INPUT;
  GPIO_InitStruct.Pull = GPIO_NOPULL;
  HAL_GPIO_Init(blueButton_GPIO_Port, &GPIO_InitStruct);

  /*Configure GPIO pins : greenLed_Pin orangeLed_Pin redLed_Pin blueLed_Pin */
  GPIO_InitStruct.Pin = greenLed_Pin|orangeLed_Pin|redLed_Pin|blueLed_Pin;
  GPIO_InitStruct.Mode = GPIO_MODE_OUTPUT_PP;
  GPIO_InitStruct.Pull = GPIO_NOPULL;
  GPIO_InitStruct.Speed = GPIO_SPEED_FREQ_LOW;
  HAL_GPIO_Init(GPIOD, &GPIO_InitStruct);

}

void Error_Handler(void)
{
}

/************************ (C) COPYRIGHT STMicroelectronics *****END OF FILE****/
